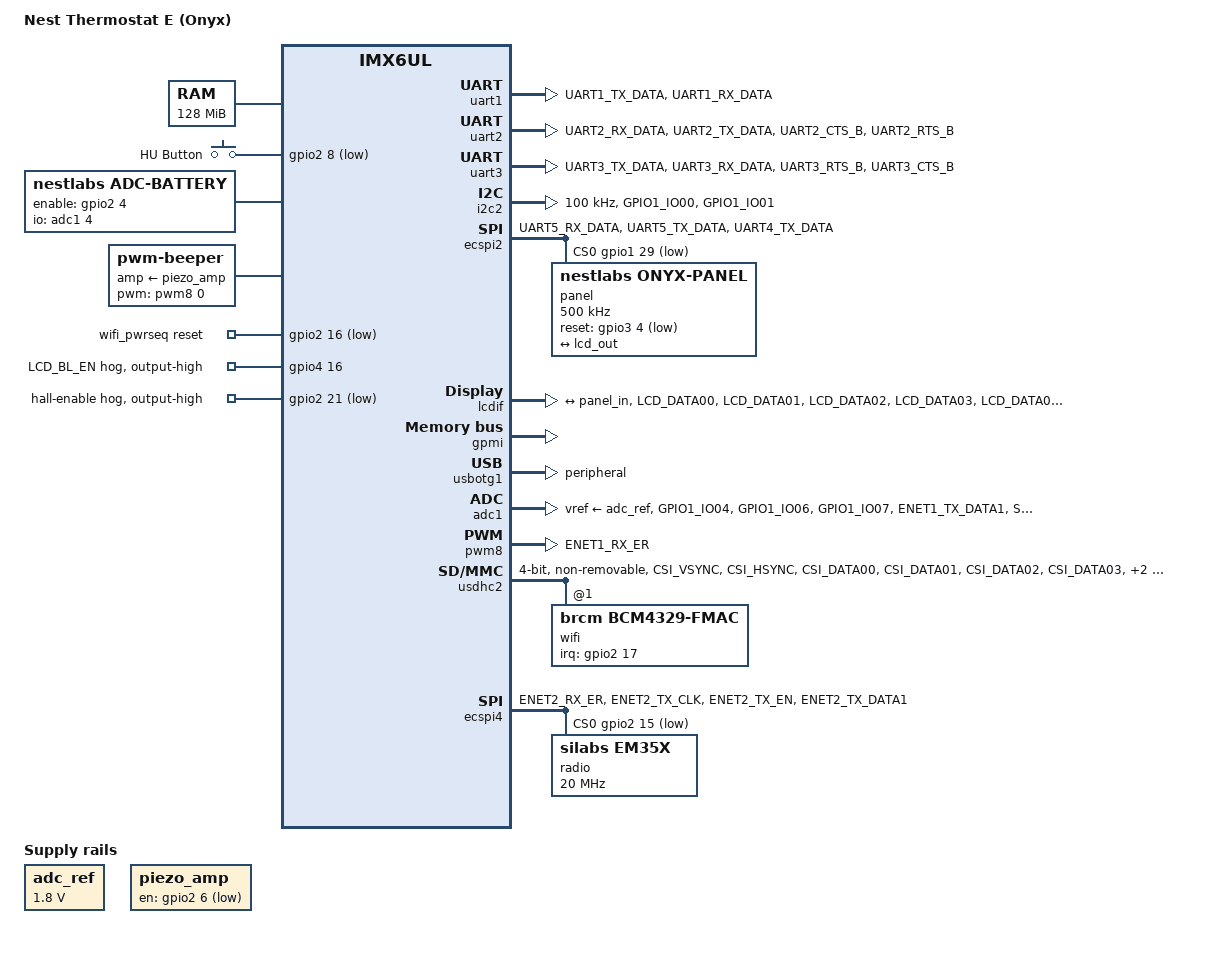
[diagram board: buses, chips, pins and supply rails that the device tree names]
// SPDX-License-Identifier: GPL-2.0-only
/* Pin assignments: Copyright (C) 2016 Nest Labs, Inc. */
/dts-v1/;
#include "nxp/imx/imx6ul.dtsi"
#include "nxp/imx/imx6ul-pinfunc.h"
#include <dt-bindings/gpio/gpio.h>
#include <dt-bindings/input/input.h>
#define PAD_CONFIG__DEFAULT 0x1008
#define PAD_CONFIG__GPIO 0x40001008
#define PAD_CONFIG__I2C 0x40001808

/ {
    model = "Nest Thermostat E (Onyx)";
    compatible = "nestlabs,onyx-evt", "fsl,imx6ul";
    memory@80000000 { device_type = "memory"; reg = <0x80000000 0x08000000>; };
    chosen { stdout-path = "serial0:115200n8"; };
    gpio-keys {
        compatible = "gpio-keys";
        pinctrl-names = "default"; pinctrl-0 = <&pinctrl_button>;
        button { label = "HU Button"; linux,code = <KEY_ENTER>;
            gpios = <&gpio2 8 GPIO_ACTIVE_LOW>; debounce-interval = <20>; };
    };
    adc_ref: regulator-adc { compatible = "regulator-fixed";
        regulator-name = "adc-reference"; regulator-min-microvolt = <1800000>;
        regulator-max-microvolt = <1800000>; regulator-always-on; };
};
&uart1 { pinctrl-names = "default"; pinctrl-0 = <&pinctrl_uart1>; status = "okay"; };
&uart2 { pinctrl-names = "default"; pinctrl-0 = <&pinctrl_uart2_1>;
    uart-has-rtscts; status = "okay"; };
&uart3 { pinctrl-names = "default"; pinctrl-0 = <&pinctrl_uart3_1>;
    uart-has-rtscts; status = "okay"; };
&i2c2 { pinctrl-names = "default"; pinctrl-0 = <&pinctrl_i2c2_1>;
    clock-frequency = <100000>; status = "okay"; };
&ecspi2 {
    pinctrl-names = "default"; pinctrl-0 = <&pinctrl_ecspi2_1>;
    cs-gpios = <&gpio1 29 GPIO_ACTIVE_LOW>; status = "okay";
    panel@0 { compatible = "nestlabs,onyx-panel"; reg = <0>;
        spi-max-frequency = <500000>; spi-cpol; spi-cpha;
        reset-gpios = <&gpio3 4 GPIO_ACTIVE_LOW>;
        port { panel_in: endpoint { remote-endpoint = <&lcd_out>; }; };
    };
};
&lcdif { pinctrl-names = "default";
    pinctrl-0 = <&pinctrl_lcdif_dat_1 &pinctrl_lcdif_ctrl_1>;
    status = "okay";
    port { lcd_out: endpoint { remote-endpoint = <&panel_in>; }; };
};
&gpmi { status = "okay"; nand-on-flash-bbt;
    partitions { compatible = "fixed-partitions"; #address-cells = <1>; #size-cells = <1>;
        partition@0 { label = "u-boot"; reg = <0 0x400000>; read-only; };
        partition@400000 { label = "ubipart"; reg = <0x400000 0x1fb80000>; };
    };
};
&usbotg1 { dr_mode = "peripheral"; disable-over-current; status = "okay"; };
&iomuxc {
    pinctrl_uart1: uart1grp { fsl,pins = <
        MX6UL_PAD_UART1_TX_DATA__UART1_DCE_TX 0x1008
        MX6UL_PAD_UART1_RX_DATA__UART1_DCE_RX 0x1008
    >; };
pinctrl_i2c2_1: i2c2grp-1 {
			fsl,pins = <
				MX6UL_PAD_GPIO1_IO00__I2C2_SCL          PAD_CONFIG__I2C         /* I2C_AP_PIN_LCD_SCK */
				MX6UL_PAD_GPIO1_IO01__I2C2_SDA          PAD_CONFIG__I2C         /* I2C_AP_PIN_LCD_SDA */
			>;
};
pinctrl_uart2_1: uart2grp-1 {
			fsl,pins = <
				MX6UL_PAD_UART2_RX_DATA__UART2_DCE_RX   PAD_CONFIG__DEFAULT
				MX6UL_PAD_UART2_TX_DATA__UART2_DCE_TX   PAD_CONFIG__DEFAULT
				MX6UL_PAD_UART2_CTS_B__UART2_DCE_CTS    PAD_CONFIG__DEFAULT
				MX6UL_PAD_UART2_RTS_B__UART2_DCE_RTS    PAD_CONFIG__DEFAULT
			>;
};
pinctrl_uart3_1: uart3grp-1 {
			fsl,pins = <
				MX6UL_PAD_UART3_TX_DATA__UART3_DCE_TX   PAD_CONFIG__DEFAULT
				MX6UL_PAD_UART3_RX_DATA__UART3_DCE_RX   PAD_CONFIG__DEFAULT
				MX6UL_PAD_UART3_RTS_B__UART3_DCE_RTS    PAD_CONFIG__DEFAULT
				MX6UL_PAD_UART3_CTS_B__UART3_DCE_CTS    PAD_CONFIG__DEFAULT
			>;
};
pinctrl_usdhc2_1: usdhc2grp {
			fsl,pins = <
				MX6UL_PAD_CSI_VSYNC__USDHC2_CLK         PAD_CONFIG__DEFAULT     /* AP_SDIO_WIFI_CLK */
				MX6UL_PAD_CSI_HSYNC__USDHC2_CMD         PAD_CONFIG__DEFAULT     /* AP_SDIO_WIFI_CMD */
				MX6UL_PAD_CSI_DATA00__USDHC2_DATA0      PAD_CONFIG__DEFAULT     /* AP_SDIO_WIFI_DATA0 */
				MX6UL_PAD_CSI_DATA01__USDHC2_DATA1      PAD_CONFIG__DEFAULT     /* AP_SDIO_WIFI_DATA1 */
				MX6UL_PAD_CSI_DATA02__USDHC2_DATA2      PAD_CONFIG__DEFAULT     /* AP_SDIO_WIFI_DATA2 */
				MX6UL_PAD_CSI_DATA03__USDHC2_DATA3      PAD_CONFIG__DEFAULT     /* AP_SDIO_WIFI_DATA3 */
			>;
};
pinctrl_lcdif_dat_1: lcdifdatgrp-1 {
			fsl,pins = <
				MX6UL_PAD_LCD_DATA00__LCDIF_DATA00      PAD_CONFIG__DEFAULT     /* LCD_DATA0 */
				MX6UL_PAD_LCD_DATA01__LCDIF_DATA01      PAD_CONFIG__DEFAULT     /* LCD_DATA1 */
				MX6UL_PAD_LCD_DATA02__LCDIF_DATA02      PAD_CONFIG__DEFAULT     /* LCD_DATA2 */
				MX6UL_PAD_LCD_DATA03__LCDIF_DATA03      PAD_CONFIG__DEFAULT     /* LCD_DATA3 */
				MX6UL_PAD_LCD_DATA04__LCDIF_DATA04      PAD_CONFIG__DEFAULT     /* LCD_DATA4 */
				MX6UL_PAD_LCD_DATA05__LCDIF_DATA05      PAD_CONFIG__DEFAULT     /* LCD_DATA5 */
				MX6UL_PAD_LCD_DATA06__LCDIF_DATA06      PAD_CONFIG__DEFAULT     /* LCD_DATA6 */
				MX6UL_PAD_LCD_DATA07__LCDIF_DATA07      PAD_CONFIG__DEFAULT     /* LCD_DATA7 */
				MX6UL_PAD_LCD_DATA08__LCDIF_DATA08      PAD_CONFIG__DEFAULT     /* LCD_DATA8 */
				MX6UL_PAD_LCD_DATA09__LCDIF_DATA09      PAD_CONFIG__DEFAULT     /* LCD_DATA9 */
				MX6UL_PAD_LCD_DATA10__LCDIF_DATA10      PAD_CONFIG__DEFAULT     /* LCD_DATA10 */
				MX6UL_PAD_LCD_DATA11__LCDIF_DATA11      PAD_CONFIG__DEFAULT     /* LCD_DATA11 */
				MX6UL_PAD_LCD_DATA12__LCDIF_DATA12      PAD_CONFIG__DEFAULT     /* LCD_DATA12 */
				MX6UL_PAD_LCD_DATA13__LCDIF_DATA13      PAD_CONFIG__DEFAULT     /* LCD_DATA13 */
				MX6UL_PAD_LCD_DATA14__LCDIF_DATA14      PAD_CONFIG__DEFAULT     /* LCD_DATA14 */
				MX6UL_PAD_LCD_DATA15__LCDIF_DATA15      PAD_CONFIG__DEFAULT     /* LCD_DATA15 */
				MX6UL_PAD_LCD_DATA16__LCDIF_DATA16      PAD_CONFIG__DEFAULT     /* LCD_DATA16 */
				MX6UL_PAD_LCD_DATA17__LCDIF_DATA17      PAD_CONFIG__DEFAULT     /* LCD_DATA17 */
				MX6UL_PAD_LCD_DATA18__LCDIF_DATA18      PAD_CONFIG__DEFAULT     /* LCD_DATA18 */
				MX6UL_PAD_LCD_DATA19__LCDIF_DATA19      PAD_CONFIG__DEFAULT     /* LCD_DATA19 */
				MX6UL_PAD_LCD_DATA20__LCDIF_DATA20      PAD_CONFIG__DEFAULT     /* LCD_DATA20 */
				MX6UL_PAD_LCD_DATA21__LCDIF_DATA21      PAD_CONFIG__DEFAULT     /* LCD_DATA21 */
				MX6UL_PAD_LCD_DATA22__LCDIF_DATA22      PAD_CONFIG__DEFAULT     /* LCD_DATA22 */
				MX6UL_PAD_LCD_DATA23__LCDIF_DATA23      PAD_CONFIG__DEFAULT     /* LCD_DATA23 */
			>;
};
pinctrl_lcdif_ctrl_1: lcdifctrlgrp-1 {
			fsl,pins = <
				MX6UL_PAD_LCD_CLK__LCDIF_CLK            PAD_CONFIG__DEFAULT     /* LCD_CLK */
				MX6UL_PAD_LCD_ENABLE__LCDIF_ENABLE      PAD_CONFIG__DEFAULT     /* LCD_ENABLE */
				MX6UL_PAD_LCD_VSYNC__LCDIF_VSYNC        PAD_CONFIG__DEFAULT     /* LCD_VSYNC */
				MX6UL_PAD_LCD_HSYNC__LCDIF_HSYNC        PAD_CONFIG__DEFAULT     /* LCD_HSYNC */
				MX6UL_PAD_LCD_RESET__GPIO3_IO04         PAD_CONFIG__GPIO        /* LCD_RESET */
			>;
};
pinctrl_ecspi2_1: ecspi2grp-1 {
			fsl,pins = <
				MX6UL_PAD_UART5_RX_DATA__ECSPI2_MISO    PAD_CONFIG__DEFAULT     /* SPI_AP_LCD_MISO */
				MX6UL_PAD_UART5_TX_DATA__ECSPI2_MOSI    PAD_CONFIG__DEFAULT     /* SPI_AP_LCD_MOSI */
				MX6UL_PAD_UART4_TX_DATA__ECSPI2_SCLK    PAD_CONFIG__DEFAULT     /* SPI_AP_LCD_CLK */
			>;
};
pinctrl_ecspi4_1: ecspi4grp-1 {
			fsl,pins = <
				MX6UL_PAD_ENET2_RX_ER__GPIO2_IO15 PAD_CONFIG__GPIO
				MX6UL_PAD_ENET2_TX_CLK__ECSPI4_MISO     PAD_CONFIG__DEFAULT     /* SPI_6LO_MISO */
				MX6UL_PAD_ENET2_TX_EN__ECSPI4_MOSI      PAD_CONFIG__DEFAULT     /* SPI_6LO_MOSI */
				MX6UL_PAD_ENET2_TX_DATA1__ECSPI4_SCLK   PAD_CONFIG__DEFAULT     /* SPI_6LO_SCLK */
			>;
};
pinctrl_pwm8_0: pwm8grp-0 {
			fsl,pins = <
				MX6UL_PAD_ENET1_RX_ER__PWM8_OUT         PAD_CONFIG__DEFAULT     /* PWM_PIEZO_DRIVE */
			>;
};
};

&iomuxc {
    pinctrl_backlight: backlightgrp { fsl,pins = <MX6UL_PAD_NAND_DQS__GPIO4_IO16 0x1008>; };
    pinctrl_button: buttongrp { fsl,pins = <MX6UL_PAD_ENET2_RX_DATA0__GPIO2_IO08 0x1008>; };
};
&gpio4 {
    pinctrl-names = "default"; pinctrl-0 = <&pinctrl_backlight>;
    backlight-enable-hog { gpio-hog; gpios = <16 GPIO_ACTIVE_HIGH>;
        output-high; line-name = "LCD_BL_EN"; };
};

/ {
    battery {
        compatible = "nestlabs,adc-battery";
        io-channels = <&adc1 4>;
        io-channel-names = "voltage";
        divider-r1-ohm = <169>;
        divider-r2-ohm = <124>;
        enable-gpios = <&gpio2 4 GPIO_ACTIVE_HIGH>;
        delay-us = <8000>;
    };

    piezo_amp: regulator-piezo {
        compatible = "regulator-fixed";
        regulator-name = "piezo-amplifier";
        gpio = <&gpio2 6 GPIO_ACTIVE_LOW>;
        pinctrl-names = "default";
        pinctrl-0 = <&pinctrl_piezo_enable>;
    };

    beeper {
        compatible = "pwm-beeper";
        pwms = <&pwm8 0 500000 0>;
        amp-supply = <&piezo_amp>;
        beeper-hz = <2000>;
    };

    wifi_pwrseq: wifi-pwrseq {
        compatible = "mmc-pwrseq-simple";
        reset-gpios = <&gpio2 16 GPIO_ACTIVE_LOW>;
        post-power-on-delay-ms = <200>;
    };

    sensor-mcu-gpios {
        compatible = "nestlabs,gpio-exporter";
        pinctrl-names = "default";
        pinctrl-0 = <&pinctrl_backplate>;
        output-gpios = <&gpio1 18 GPIO_ACTIVE_LOW>;
        output-names = "reset";
        input-gpios = <&gpio4 28 GPIO_ACTIVE_LOW>;
        input-names = "detect#";
    };

    em35x-gpios {
        compatible = "nestlabs,gpio-exporter";
        pinctrl-names = "default";
        pinctrl-0 = <&pinctrl_thread>;
        output-gpios = <&gpio2 2 GPIO_ACTIVE_LOW>, <&gpio2 19 GPIO_ACTIVE_LOW>;
        output-names = "wake", "reset";
        input-gpios = <&gpio2 18 GPIO_ACTIVE_HIGH>;
        input-names = "irq";
    };
};

&adc1 {
    pinctrl-names = "default";
    pinctrl-0 = <&pinctrl_adc>;
    vref-supply = <&adc_ref>;
    status = "okay";
};

&gpio2 {
    hall-enable {
        gpio-hog;
        gpios = <21 GPIO_ACTIVE_LOW>;
        output-high;
        line-name = "hall-enable";
    };
};

&pwm8 {
    pinctrl-names = "default";
    pinctrl-0 = <&pinctrl_pwm8_0>;
    status = "okay";
};

&usdhc2 {
    pinctrl-names = "default";
    pinctrl-0 = <&pinctrl_usdhc2_1 &pinctrl_wifi>;
    bus-width = <4>;
    non-removable;
    mmc-pwrseq = <&wifi_pwrseq>;
    status = "okay";
    #address-cells = <1>;
    #size-cells = <0>;
    wifi@1 {
        compatible = "brcm,bcm4329-fmac";
        reg = <1>;
        interrupt-parent = <&gpio2>;
        interrupts = <17 IRQ_TYPE_LEVEL_HIGH>;
        interrupt-names = "host-wake";
    };
};

&ecspi4 {
    pinctrl-names = "default";
    pinctrl-0 = <&pinctrl_ecspi4_1>;
    cs-gpios = <&gpio2 15 GPIO_ACTIVE_LOW>;
    status = "okay";
    radio@0 {
        compatible = "silabs,em35x";
        reg = <0>;
        spi-max-frequency = <20000000>;
    };
};

&iomuxc {
    pinctrl_adc: adcgrp { fsl,pins = <
        MX6UL_PAD_GPIO1_IO04__GPIO1_IO04 0x8
        MX6UL_PAD_GPIO1_IO06__GPIO1_IO06 0x8
        MX6UL_PAD_GPIO1_IO07__GPIO1_IO07 0x8
        MX6UL_PAD_ENET1_TX_DATA1__GPIO2_IO04 PAD_CONFIG__GPIO
        MX6UL_PAD_SD1_DATA3__GPIO2_IO21 PAD_CONFIG__GPIO
    >; };
    pinctrl_piezo_enable: piezo-enable-grp { fsl,pins = <
        MX6UL_PAD_ENET1_TX_CLK__GPIO2_IO06 PAD_CONFIG__GPIO
    >; };
    pinctrl_wifi: wifi-grp { fsl,pins = <
        MX6UL_PAD_SD1_CMD__GPIO2_IO16 PAD_CONFIG__GPIO
        MX6UL_PAD_SD1_CLK__GPIO2_IO17 PAD_CONFIG__GPIO
    >; };
    pinctrl_backplate: backplate-grp { fsl,pins = <
        MX6UL_PAD_UART1_CTS_B__GPIO1_IO18 PAD_CONFIG__GPIO
        MX6UL_PAD_CSI_DATA07__GPIO4_IO28 PAD_CONFIG__GPIO
    >; };
    pinctrl_thread: thread-grp { fsl,pins = <
        MX6UL_PAD_SD1_DATA1__GPIO2_IO19 PAD_CONFIG__GPIO
        MX6UL_PAD_ENET1_RX_EN__GPIO2_IO02 PAD_CONFIG__GPIO
        MX6UL_PAD_SD1_DATA0__GPIO2_IO18 PAD_CONFIG__GPIO
    >; };
};
